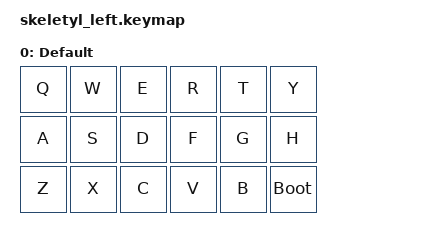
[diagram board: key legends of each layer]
/*
 * 
 *
 * SPDX-License-Identifier: MIT
 */

#include <behaviors.dtsi>
#include <dt-bindings/zmk/keys.h>

#define DEFAULT 0


/ {
    keymap {
        compatible = "zmk,keymap";
        label = "skeletyl_left";

        default_layer {
            label = "Default";
            bindings = <
                /* Row 0: Q W E R T  Thumb1 */
                &kp Q     &kp W     &kp E     &kp R     &kp T     &kp Y

                /* Row 1: A S D F G  Thumb2 */
                &kp A     &kp S     &kp D     &kp F     &kp G     &kp H

                /* Row 2: Z X C V B  Thumb3 */
                &kp Z     &kp X     &kp C     &kp V     &kp B     &bootloader
            >;
        };
    };
};
